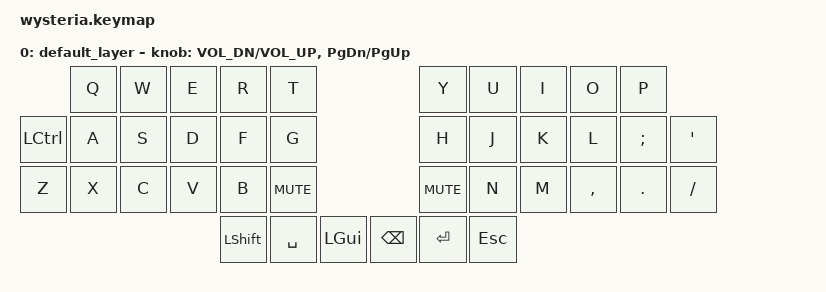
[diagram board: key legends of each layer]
#include <behaviors.dtsi>
#include <dt-bindings/zmk/keys.h>

//nice_view_spi: &spi0 {
  //cs-gpios = <&pro_micro 10 GPIO_ACTIVE_HIGH>;
  //mosi-pin = <&pro_micro 16 GPIO_ACTIVE_HIGH>;
  //sck-pin = <&pro_micro 15 GPIO_ACTIVE_HIGH>;
//};

/ {
    keymap {
        compatible = "zmk,keymap";

        default_layer {
            bindings = <
            // top outside key is considered part of the top row, as it is designed to be part of the main block of alpha keys.
            // the sixth column is only intended to be one key, the lower of the two in physical layout, which is designed to be a leader key
                          &kp Q    &kp W     &kp E     &kp R     &kp T                           &kp Y     &kp U     &kp I     &kp O     &kp P
                &kp LCTRL &kp A    &kp S     &kp D     &kp F     &kp G                           &kp H     &kp J     &kp K     &kp L     &kp SEMI    &kp SQT
                          &kp Z    &kp X     &kp C     &kp V     &kp B    &kp C_MUTE &kp C_MUTE  &kp N     &kp M     &kp COMMA &kp DOT   &kp FSLH
                                                      &kp LSHFT &kp SPACE &kp LGUI   &kp BSPC    &kp RET   &kp ESC
            >;

            sensor-bindings = <&inc_dec_kp C_VOL_DN C_VOL_UP &inc_dec_kp PG_DN PG_UP>;
        };
    };
};
